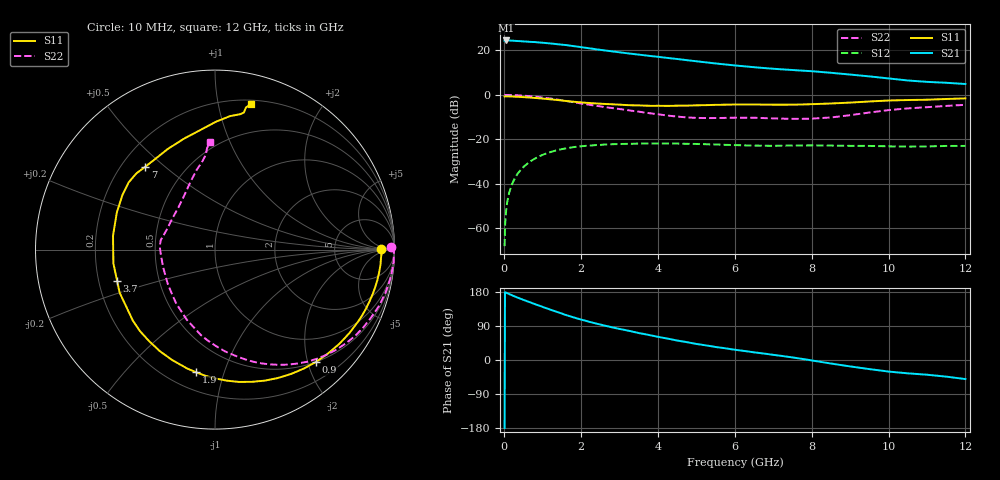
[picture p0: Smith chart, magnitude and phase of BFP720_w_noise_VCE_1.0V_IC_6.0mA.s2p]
! Infineon Technologies  Discrete & RF Semiconductors
! BFP720
! VCE =  1.0 V,  IC =  6.0 mA
! Common Emitter S-Parameters:  Aug 2012
# GHz  S  MA  R  50
!  f  S11  S21  S12  S22
! GHz  MAG  ANG  MAG  ANG  MAG  ANG  MAG  ANG
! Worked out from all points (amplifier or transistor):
!   105 points, 10 MHz to 12 GHz, reference 50 ohm
!   highest |S21| = 24.5 dB at 50 MHz (marker M1)
!   |S21| within 3 dB of that: start of sweep to 1.998 GHz
!   unconditionally stable (mu >= 1): 6.547 GHz to 11.96 GHz
!   at 300 MHz: K = 0.05, MSG = 30.5 dB, |S12| = -36.7 dB
!   at 3.6 GHz: K = 0.52, MSG = 19.9 dB, |S12| = -21.9 dB
!   at 12 GHz: K = 0.99, MSG = 13.9 dB, |S12| = -22.9 dB
!   lowest NFmin = 0.43 dB at 450 MHz
!   S11 on the Smith chart (normalised r, x): 10 MHz: 25, +1; 900 MHz: 0.50, -2.15; 1.9 GHz: 0.31, -0.81; 3.7 GHz: 0.28, -0.14; 7 GHz: 0.30, +0.43; 12 GHz: 0.23, +1.25
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0.01  0.9232 0.1  16.52 -179.6  0.0004 -52.5  0.9824 0.8
0.02  0.9288 -1.1  16.5 178.8  0.001 90.4  0.9967 -0.7
0.05  0.9261 -2.7  16.74 177.5  0.0025 88.8  0.9966 -2.0
0.2  0.9203 -10.7  16.53 170.9  0.0098 84.0  0.9921 -8.1
0.45  0.8984 -23.9  16.03 160.6  0.0217 75.7  0.9688 -18.0
0.9  0.8418 -48.0  15.13 143.8  0.0412 61.4  0.8964 -35.7
1.2  0.7963 -64.0  14.33 132.9  0.052 52.3  0.8311 -47.1
1.4  0.7651 -74.3  13.73 125.9  0.058 46.6  0.7829 -54.2
1.6  0.733 -84.9  13.21 118.9  0.0629 41.3  0.7338 -61.0
1.9  0.6914 -98.8  12.18 109.6  0.0687 34.1  0.6646 -70.5
2.1  0.6685 -107.1  11.51 104.0  0.0714 29.9  0.6226 -76.2
2.4  0.6437 -118.6  10.58 96.0  0.0748 24.2  0.569 -84.5
2.8  0.6174 -132.5  9.533 86.4  0.0779 17.7  0.5085 -94.5
3.7  0.5726 -162.2  7.676 67.4  0.0808 5.8  0.3971 -117.2
4.1  0.5685 -175.4  7.014 59.2  0.081 1.3  0.3578 -129.3
5  0.5847 159.4  5.705 42.3  0.0791 -7.5  0.3055 -160.4
6.1  0.6092 140.8  4.515 25.8  0.0742 -13.9  0.3078 175.5
7  0.6033 130.2  3.872 13.6  0.0719 -15.9  0.2972 164.2
8.5  0.6421 105.5  3.143 -9.3  0.0727 -22.5  0.3115 130.7
9.5  0.7123 89.6  2.608 -24.0  0.0715 -26.1  0.4022 109.8
10.5  0.7677 79.4  2.111 -35.2  0.0688 -28.3  0.4982 98.0
12  0.836 76.1  1.759 -50.3  0.0715 -32.5  0.5997 92.6
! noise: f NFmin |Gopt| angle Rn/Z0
0.45  0.43  0.44  3  0.13
1.8  0.51  0.42  24  0.13
2.4  0.55  0.3  55  0.23
5.5  0.69  0.2  58  0.14
10  0.95  0.39  -89  0.21
